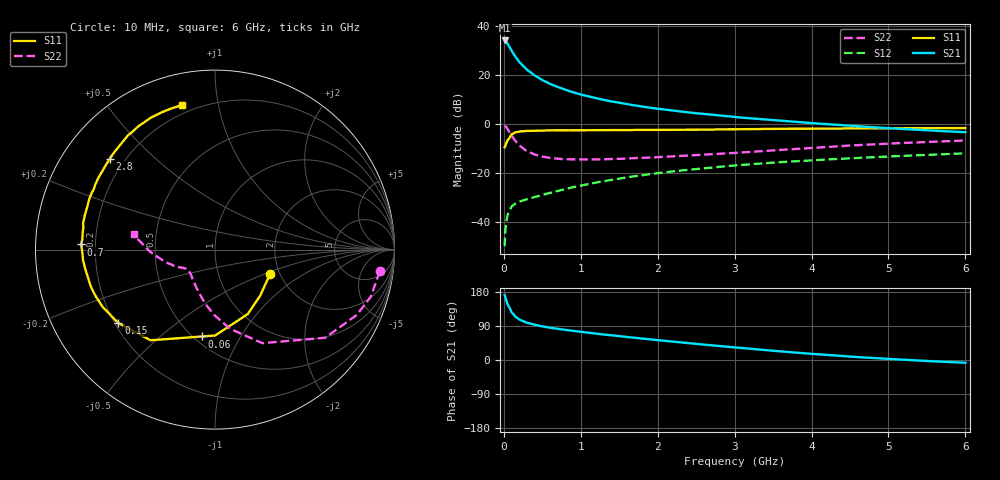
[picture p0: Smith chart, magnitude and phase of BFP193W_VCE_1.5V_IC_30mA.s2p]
! Infineon Technologies  Discrete & RF Semiconductors
! BFP193W
! VCE = 1.5 V,  IC =  30 mA
! Common Emitter S-Parameters:  Jan 2016
# GHz  S  MA  R  50
!  f  S11  S21  S12  S22
! GHz  MAG  ANG  MAG  ANG  MAG  ANG  MAG  ANG
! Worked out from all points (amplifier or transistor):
!   210 points, 10 MHz to 6 GHz, reference 50 ohm
!   highest |S21| = 34.1 dB at 10 MHz (marker M1)
!   |S21| within 3 dB of that: start of sweep to 78.84 MHz
!   unconditionally stable (mu >= 1): 723.3 MHz to 4.337 GHz
!   at 185 MHz: K = 0.45, MSG = 29.0 dB, |S12| = -32.0 dB
!   at 1.52 GHz: K = 1.15, MAG = 13.0 dB, |S12| = -22.2 dB
!   at 6 GHz: K = 0.95, MSG = 4.3 dB, |S12| = -12.0 dB
!   S11 on the Smith chart (normalised r, x): 10 MHz: 1.78, -0.54; 60 MHz: 0.55, -0.70; 150 MHz: 0.21, -0.32; 700 MHz: 0.15, +0.02; 2.8 GHz: 0.14, +0.37; 6 GHz: 0.15, +0.78
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0.01  0.3358 -23.7  50.93 171.7  0.0032 81.0  0.9258 -7.5
0.02  0.3597 -45.7  49.95 165.2  0.0067 76.2  0.907 -16.8
0.03  0.4029 -63.1  48.27 158.3  0.0096 72.6  0.8701 -24.7
0.05  0.4785 -89.9  43.38 146.1  0.0142 61.7  0.7861 -38.7
0.06  0.489 -98.4  40.71 143.0  0.0154 57.9  0.7368 -42.5
0.1  0.6198 -125.4  31.66 125.9  0.0206 47.4  0.584 -63.2
0.15  0.6762 -142.8  23.7 114.1  0.0239 42.2  0.4494 -79.2
0.2  0.7025 -152.8  18.61 107.0  0.0258 40.5  0.3677 -90.1
0.26  0.7165 -160.2  14.8 101.4  0.0278 40.8  0.3088 -99.6
0.3  0.7222 -163.9  12.85 98.4  0.0292 41.6  0.279 -105.2
0.4  0.7299 -170.8  9.795 92.8  0.0321 44.2  0.2386 -115.3
0.5  0.7376 -175.4  7.904 88.6  0.0356 47.7  0.2167 -122.8
0.6  0.7394 -178.9  6.61 85.1  0.0391 49.8  0.2033 -128.6
0.7  0.7458 177.8  5.716 82.2  0.0431 51.8  0.1952 -132.7
1.02  0.7445 170.3  3.939 74.0  0.0562 56.2  0.1888 -141.2
1.4  0.7502 162.7  2.895 65.1  0.0725 57.9  0.1936 -146.3
2.02  0.7587 151.8  2.036 52.0  0.1 57.1  0.2115 -151.3
2.8  0.7745 139.1  1.49 36.9  0.1338 53.0  0.2476 -158.7
3.1  0.7822 134.7  1.349 31.6  0.1464 51.0  0.2634 -162.3
4.1  0.8098 120.7  1.018 14.9  0.1853 43.7  0.3318 -174.1
5.1  0.8208 110.3  0.805 1.7  0.2202 36.9  0.4045 175.7
6  0.8262 103.0  0.682 -7.3  0.2524 31.3  0.4605 169.2
